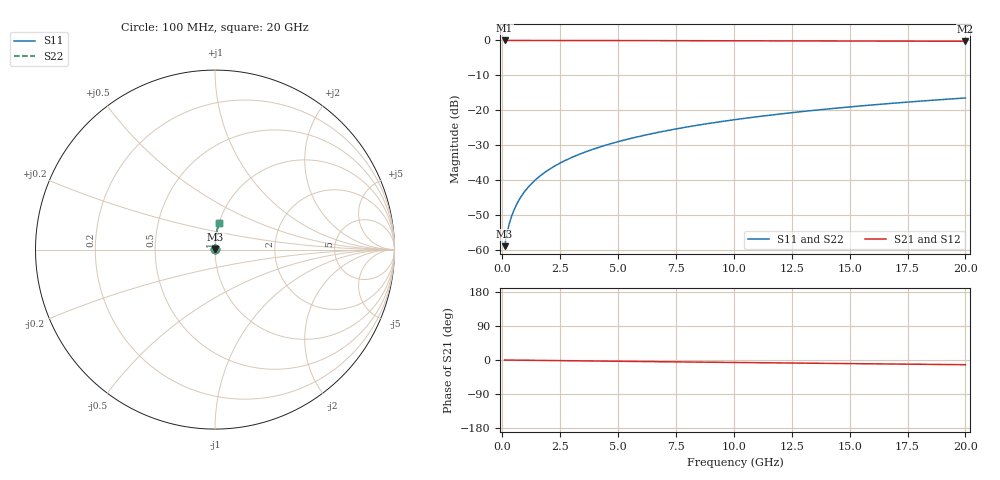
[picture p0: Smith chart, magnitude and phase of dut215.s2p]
! Touchstone file exported from HFSS 2024.1.0
!  File:  C:/UserFiles/LocalFiles/RDL_TSV_Batchsim/temp_RDL_bottom_215_1778700165.aedt
!  Generated:  03:25:08 AM May 14, 2026
!  Design:  RDL_bottom
!  Project:  temp_RDL_bottom_215_1778700165
!  Setup:  Setup1
!  Solution:  Sweep
! Variables:
!  dtsv = 10.80580581um
!  hbump = 3um
!  htsv = 82.56um
!  ldown = 138.94um
!  lrdl = 100um
!  p = 40
!  p1 = 46.83um
!  rhole = 1um
!  t = 450um
!  tdown = 4.02um
!  trdl = 3.915915916um
!  wdown = 17.55um
!  wrdl = 20um
# GHz S MA R 50.000000
! Terminal data exported
! Port[1] = RDL1_T1
! Port[2] = RDL1_T2
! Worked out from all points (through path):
!   200 points, 100 MHz to 20 GHz, reference 50 ohm
!   highest |S21| = -0.01 dB at 100 MHz (marker M1); lowest = -0.2 dB at 20 GHz (marker M2)
!   group delay of S21, straight-line fit = 1.71 ps
!   lowest |S11| = -58.8 dB at 100 MHz (marker M3), VSWR 1.00, Z = 50.1 + j0.0749 ohm
!   |S11| at or under -10 dB: start of sweep to end of sweep
!   |S22| runs from -58.8 to -16.4 dB; largest |S21 - S12| = 4.1e-15
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0.1  0.001147 40.7  0.9991 -0.1  0.9991 -0.1  0.001147 40.7
! Gamma 0 0 0 0
! Port Impedance 50 0 50 0
0.2  0.001731 58.7  0.9991 -0.1  0.9991 -0.1  0.001731 58.7
0.3  0.002384 67.1  0.9991 -0.2  0.9991 -0.2  0.002384 67.1
0.4  0.003053 71.8  0.999 -0.3  0.999 -0.3  0.003053 71.8
0.5  0.003728 74.8  0.999 -0.4  0.999 -0.4  0.003728 74.8
0.6  0.004408 77.0  0.9989 -0.4  0.9989 -0.4  0.004408 77.0
0.8  0.005779 79.9  0.9989 -0.6  0.9989 -0.6  0.005779 79.9
1.1  0.007856 82.5  0.9988 -0.8  0.9988 -0.8  0.007856 82.5
1.5  0.01065 84.4  0.9986 -1.0  0.9986 -1.0  0.01065 84.4
1.8  0.01275 85.3  0.9984 -1.2  0.9984 -1.2  0.01275 85.3
2.1  0.01487 85.9  0.9982 -1.4  0.9982 -1.4  0.01487 85.9
2.7  0.01912 86.7  0.9978 -1.9  0.9978 -1.9  0.01912 86.7
3.5  0.02484 87.3  0.9971 -2.4  0.9971 -2.4  0.02484 87.3
4.2  0.02989 87.5  0.9963 -2.9  0.9963 -2.9  0.02989 87.5
5  0.03572 87.7  0.9954 -3.4  0.9954 -3.4  0.03572 87.7
5.9  0.04236 87.7  0.9942 -4.0  0.9942 -4.0  0.04236 87.7
6.8  0.04907 87.5  0.993 -4.5  0.993 -4.5  0.04907 87.5
8.3  0.06041 87.1  0.9908 -5.5  0.9908 -5.5  0.06041 87.1
10.1  0.07421 86.4  0.9882 -6.6  0.9882 -6.6  0.0742 86.4
13.4  0.09975 84.6  0.9834 -8.6  0.9834 -8.6  0.09975 84.6
16.7  0.1253 82.6  0.9784 -10.5  0.9784 -10.5  0.1253 82.6
20  0.1505 80.5  0.9733 -12.4  0.9733 -12.4  0.1505 80.5
